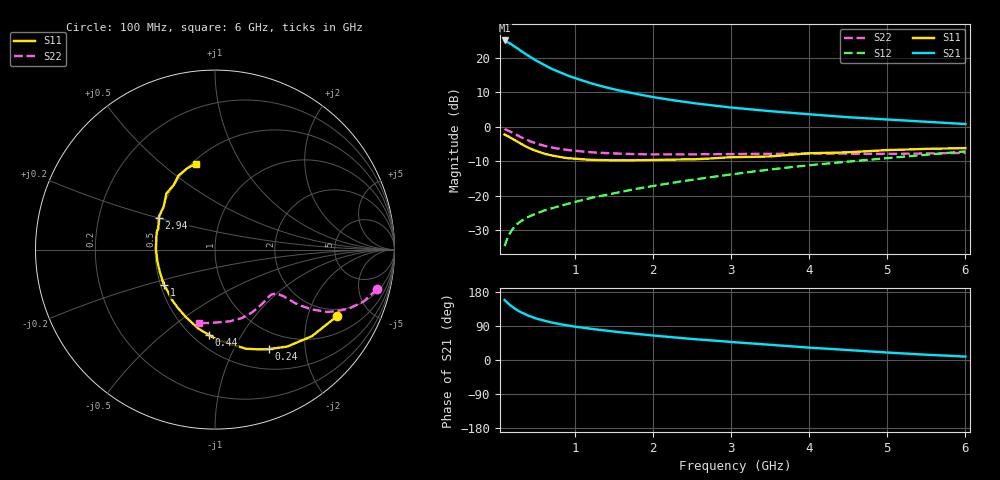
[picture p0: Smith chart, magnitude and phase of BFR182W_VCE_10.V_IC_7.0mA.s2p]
! Infineon Technologies  Discrete & RF Semiconductors
! BFR182W
! VCE =  10. V,  IC =  7.0 mA
! Common Emitter S-Parameters:  Nov 2015
# GHz  S  MA  R  50
!  f  S11  S21  S12  S22
! GHz  MAG  ANG  MAG  ANG  MAG  ANG  MAG  ANG
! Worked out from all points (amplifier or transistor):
!   192 points, 100 MHz to 6 GHz, reference 50 ohm
!   highest |S21| = 25.0 dB at 100 MHz (marker M1)
!   |S21| within 3 dB of that: start of sweep to 308.7 MHz
!   unconditionally stable (mu >= 1): 1.29 GHz to 2.932 GHz
!   at 440 MHz: K = 0.59, MSG = 22.9 dB, |S12| = -25.7 dB
!   at 1.7 GHz: K = 1.05, MAG = 12.8 dB, |S12| = -18.3 dB
!   at 6 GHz: K = 0.79, MSG = 4.0 dB, |S12| = -7.1 dB
!   S11 on the Smith chart (normalised r, x): 100 MHz: 1.65, -3.07; 240 MHz: 0.76, -1.39; 440 MHz: 0.60, -0.74; 1 GHz: 0.52, -0.23; 2.94 GHz: 0.50, +0.20; 6 GHz: 0.52, +0.66
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0.1  0.7736 -28.8  17.73 158.0  0.0187 75.2  0.9296 -13.7
0.15  0.724 -41.8  16.56 148.2  0.0266 70.0  0.8774 -19.2
0.2  0.6734 -53.4  15.27 140.0  0.0327 65.9  0.8198 -23.4
0.24  0.6299 -61.6  14.22 134.4  0.0371 62.9  0.7739 -26.0
0.3  0.5781 -72.8  12.74 126.9  0.0424 60.1  0.7142 -29.1
0.4  0.5007 -89.0  10.7 117.0  0.0494 57.7  0.6324 -31.8
0.44  0.4776 -93.8  10.05 114.4  0.0517 57.3  0.6092 -32.3
0.5  0.45 -101.9  9.119 109.8  0.0552 56.7  0.5744 -33.1
0.56  0.4242 -108.3  8.373 106.5  0.0587 56.8  0.549 -33.5
0.6  0.4103 -113.0  7.894 104.0  0.061 56.9  0.5321 -33.8
0.7  0.3856 -122.4  6.916 99.0  0.0658 57.4  0.5018 -33.9
0.82  0.3638 -132.7  6.047 94.2  0.0721 58.4  0.4753 -34.2
1  0.3461 -145.4  5.062 88.0  0.0816 59.9  0.4485 -34.6
1.1  0.3378 -150.9  4.662 85.4  0.0872 60.6  0.4381 -34.9
1.2  0.3327 -156.6  4.274 82.4  0.0929 61.3  0.4277 -35.3
1.5  0.3273 -169.9  3.486 75.0  0.1093 63.0  0.4105 -37.1
2.08  0.3317 169.9  2.599 63.2  0.1437 64.7  0.3984 -42.0
2.94  0.3589 150.7  1.932 48.6  0.1998 64.7  0.4023 -52.3
3.1  0.3636 147.7  1.851 46.1  0.2111 64.4  0.4031 -54.6
4.1  0.4156 129.2  1.486 31.4  0.2843 60.6  0.4085 -70.6
5.1  0.463 114.7  1.255 18.6  0.3598 55.9  0.4057 -88.2
6  0.4909 102.7  1.095 9.1  0.4396 50.8  0.4187 -102.5
